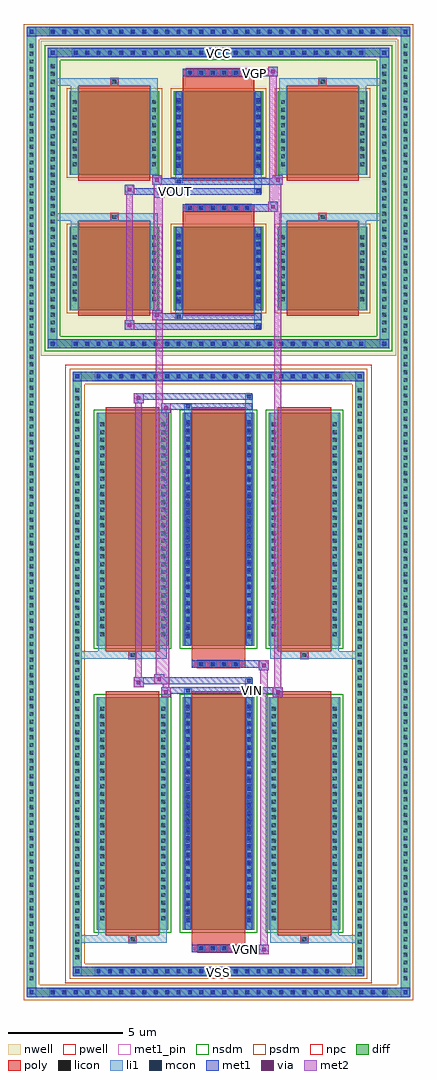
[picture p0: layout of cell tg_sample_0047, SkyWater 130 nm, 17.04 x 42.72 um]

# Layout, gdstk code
import gdstk
lib = gdstk.Library(unit=1e-6, precision=5e-09)
def R(c, l, rs):  # rectangles x0, y0, x1, y1
    for r in rs: c.add(gdstk.rectangle(r[:2], r[2:], *l))
def A(c, l, x, y, w, h, nx, ny, dx, dy):  # array of equal rectangles
    R(c, l, [(x+i*dx, y+j*dy, x+i*dx+w, y+j*dy+h) for i in range(nx) for j in range(ny)])
def P(c, l, *ps):  # polygons
    for p in ps: c.add(gdstk.Polygon(p, *l))
nwell = (64, 20)
pwell = (64, 44)
diff = (65, 20)
poly = (66, 20)
licon = (66, 44)
li1 = (67, 20)
mcon = (67, 44)
met1_pin = (68, 16)
met1 = (68, 20)
via = (68, 44)
met2 = (69, 20)
nsdm = (93, 44)
psdm = (94, 20)
npc = (95, 20)

tg_sample_0047 = lib.new_cell('tg_sample_0047')
R(tg_sample_0047, nwell, [(-7.775,13.935,7.775,27.705)])
R(tg_sample_0047, pwell, [(-6.7,-13.535,6.7,13.535)])
A(tg_sample_0047, diff, -7.455, -14.145, 0.41, 0.41, 30, 2, 0.5, 42.05)
A(tg_sample_0047, diff, -8.39, -13.52, 0.41, 0.41, 1, 121, 0, 0.34)
A(tg_sample_0047, diff, 7.98, -13.52, 0.41, 0.41, 1, 121, 0, 0.34)
A(tg_sample_0047, diff, -5.455, -13.225, 0.41, 0.41, 22, 2, 0.5, 26.04)
A(tg_sample_0047, diff, -6.39, -12.615, 0.41, 0.41, 1, 74, 0, 0.34)
A(tg_sample_0047, diff, 5.98, -12.615, 0.41, 0.41, 1, 74, 0, 0.34)
A(tg_sample_0047, diff, -5.32, -11.2, 3.12, 10.18, 3, 2, 3.76, 12.44)
A(tg_sample_0047, diff, -6.455, 14.245, 0.41, 0.41, 26, 2, 0.5, 12.74)
A(tg_sample_0047, diff, -7.465, 14.835, 0.41, 0.41, 1, 35, 0, 0.34)
A(tg_sample_0047, diff, 7.055, 14.835, 0.41, 0.41, 1, 35, 0, 0.34)
A(tg_sample_0047, diff, -6.52, 15.92, 3.92, 3.66, 3, 2, 4.56, 5.92)
R(tg_sample_0047, diff, [(-7.455,-14.145,7.455,-13.735), (-8.39,-13.52,-7.98,27.69), (7.98,-13.52,8.39,27.69), (-5.455,-13.225,5.455,-12.815), (-6.39,-12.615,-5.98,12.615), (5.98,-12.615,6.39,12.615), (-5.455,12.815,5.455,13.225), (-6.455,14.245,6.455,14.655), (-7.465,14.835,-7.055,26.805), (7.055,14.835,7.465,26.805), (-6.455,26.985,6.455,27.395), (-7.455,27.905,7.455,28.315)])
P(tg_sample_0047, diff, [(6.39,13.225),(-6.39,13.225),(-6.39,-12.815),(-5.98,-12.815),(-5.98,12.815),(5.98,12.815),(5.98,-12.815),(-5.98,-12.815),(-6.39,-12.815),(-6.39,-13.225),(6.39,-13.225)],
  [(8.39,28.315),(-8.39,28.315),(-8.39,-13.735),(-7.98,-13.735),(-7.98,27.905),(7.98,27.905),(7.98,-13.735),(-7.98,-13.735),(-8.39,-13.735),(-8.39,-14.145),(8.39,-14.145)],
  [(7.465,14.245),(-7.465,14.245),(-7.465,26.985),(-7.055,26.985),(-7.055,14.655),(7.055,14.655),(7.055,26.985),(-7.055,26.985),(-7.465,26.985),(-7.465,27.395),(7.465,27.395)])
A(tg_sample_0047, poly, -0.915, -12.18, 0.33, 0.33, 4, 2, 0.5, 12.44)
A(tg_sample_0047, poly, -4.93, -11.45, 2.34, 10.68, 3, 2, 3.76, 12.44)
A(tg_sample_0047, poly, -6.13, 15.67, 3.14, 4.16, 3, 2, 4.56, 5.92)
A(tg_sample_0047, poly, -1.415, 20.23, 0.33, 0.33, 6, 2, 0.5, 5.92)
R(tg_sample_0047, poly, [(-1.17,-12.18,1.17,-11.85), (-1.17,-11.85,1.17,-11.45), (-3.925,-11.78,-3.595,-11.45), (-3.925,-11.78,-3.595,-11.45), (3.595,-11.78,3.925,-11.45), (3.595,-11.78,3.925,-11.45), (-1.17,0.26,1.17,0.59), (-1.17,0.59,1.17,0.99), (-3.925,0.66,-3.595,0.99), (-3.925,0.66,-3.595,0.99), (3.595,0.66,3.925,0.99), (3.595,0.66,3.925,0.99), (-4.725,19.83,-4.395,20.16), (-4.725,19.83,-4.395,20.16), (-1.57,19.83,1.57,20.23), (4.395,19.83,4.725,20.16), (4.395,19.83,4.725,20.16), (-1.57,20.23,1.57,20.56), (-4.725,25.75,-4.395,26.08), (-4.725,25.75,-4.395,26.08), (-1.57,25.75,1.57,26.15), (4.395,25.75,4.725,26.08), (4.395,25.75,4.725,26.08), (-1.57,26.15,1.57,26.48)])
A(tg_sample_0047, licon, -7.335, -14.025, 0.17, 0.17, 30, 2, 0.5, 42.05)
A(tg_sample_0047, licon, -8.27, -13.4, 0.17, 0.17, 1, 121, 0, 0.34)
A(tg_sample_0047, licon, 8.1, -13.4, 0.17, 0.17, 1, 121, 0, 0.34)
A(tg_sample_0047, licon, -5.335, -13.105, 0.17, 0.17, 22, 2, 0.5, 26.04)
A(tg_sample_0047, licon, -6.27, -12.495, 0.17, 0.17, 1, 74, 0, 0.34)
A(tg_sample_0047, licon, 6.1, -12.495, 0.17, 0.17, 1, 74, 0, 0.34)
A(tg_sample_0047, licon, -0.835, -12.1, 0.17, 0.17, 4, 2, 0.5, 12.44)
A(tg_sample_0047, licon, -5.18, -10.785, 0.17, 0.17, 1, 28, 0, 0.34)
A(tg_sample_0047, licon, -2.51, -10.785, 0.17, 0.17, 1, 28, 0, 0.34)
A(tg_sample_0047, licon, -1.42, -10.785, 0.17, 0.17, 1, 28, 0, 0.34)
A(tg_sample_0047, licon, 1.25, -10.785, 0.17, 0.17, 1, 28, 0, 0.34)
A(tg_sample_0047, licon, 2.34, -10.785, 0.17, 0.17, 1, 28, 0, 0.34)
A(tg_sample_0047, licon, 5.01, -10.785, 0.17, 0.17, 1, 28, 0, 0.34)
A(tg_sample_0047, licon, -5.18, 1.655, 0.17, 0.17, 1, 28, 0, 0.34)
A(tg_sample_0047, licon, -2.51, 1.655, 0.17, 0.17, 1, 28, 0, 0.34)
A(tg_sample_0047, licon, -1.42, 1.655, 0.17, 0.17, 1, 28, 0, 0.34)
A(tg_sample_0047, licon, 1.25, 1.655, 0.17, 0.17, 1, 28, 0, 0.34)
A(tg_sample_0047, licon, 2.34, 1.655, 0.17, 0.17, 1, 28, 0, 0.34)
A(tg_sample_0047, licon, 5.01, 1.655, 0.17, 0.17, 1, 28, 0, 0.34)
A(tg_sample_0047, licon, -6.335, 14.365, 0.17, 0.17, 26, 2, 0.5, 12.74)
A(tg_sample_0047, licon, -7.345, 14.955, 0.17, 0.17, 1, 35, 0, 0.34)
A(tg_sample_0047, licon, 7.175, 14.955, 0.17, 0.17, 1, 35, 0, 0.34)
A(tg_sample_0047, licon, -6.38, 16.305, 0.17, 0.17, 1, 9, 0, 0.34)
A(tg_sample_0047, licon, -2.91, 16.305, 0.17, 0.17, 1, 9, 0, 0.34)
A(tg_sample_0047, licon, -1.82, 16.305, 0.17, 0.17, 1, 9, 0, 0.34)
A(tg_sample_0047, licon, 1.65, 16.305, 0.17, 0.17, 1, 9, 0, 0.34)
A(tg_sample_0047, licon, 2.74, 16.305, 0.17, 0.17, 1, 9, 0, 0.34)
A(tg_sample_0047, licon, 6.21, 16.305, 0.17, 0.17, 1, 9, 0, 0.34)
A(tg_sample_0047, licon, -1.335, 20.31, 0.17, 0.17, 6, 2, 0.5, 5.92)
A(tg_sample_0047, licon, -6.38, 22.225, 0.17, 0.17, 1, 9, 0, 0.34)
A(tg_sample_0047, licon, -2.91, 22.225, 0.17, 0.17, 1, 9, 0, 0.34)
A(tg_sample_0047, licon, -1.82, 22.225, 0.17, 0.17, 1, 9, 0, 0.34)
A(tg_sample_0047, licon, 1.65, 22.225, 0.17, 0.17, 1, 9, 0, 0.34)
A(tg_sample_0047, licon, 2.74, 22.225, 0.17, 0.17, 1, 9, 0, 0.34)
A(tg_sample_0047, licon, 6.21, 22.225, 0.17, 0.17, 1, 9, 0, 0.34)
R(tg_sample_0047, licon, [(-3.845,-11.7,-3.675,-11.53), (3.675,-11.7,3.845,-11.53), (-3.845,0.74,-3.675,0.91), (3.675,0.74,3.845,0.91), (-4.645,19.91,-4.475,20.08), (4.475,19.91,4.645,20.08), (-4.645,25.83,-4.475,26), (4.475,25.83,4.645,26)])
A(tg_sample_0047, li1, -7.415, -14.105, 0.33, 0.33, 30, 2, 0.5, 42.05)
A(tg_sample_0047, li1, -8.35, -13.48, 0.33, 0.33, 1, 121, 0, 0.34)
A(tg_sample_0047, li1, 8.02, -13.48, 0.33, 0.33, 1, 121, 0, 0.34)
A(tg_sample_0047, li1, -5.415, -13.185, 0.33, 0.33, 22, 2, 0.5, 26.04)
A(tg_sample_0047, li1, -6.35, -12.575, 0.33, 0.33, 1, 74, 0, 0.34)
A(tg_sample_0047, li1, 6.02, -12.575, 0.33, 0.33, 1, 74, 0, 0.34)
A(tg_sample_0047, li1, -0.915, -12.18, 0.33, 0.33, 4, 2, 0.5, 12.44)
A(tg_sample_0047, li1, -1.42, -10.875, 0.17, 0.17, 1, 27, 0, 0.36)
A(tg_sample_0047, li1, 1.25, -10.875, 0.17, 0.17, 1, 27, 0, 0.36)
A(tg_sample_0047, li1, -5.26, -10.865, 0.33, 0.33, 1, 28, 0, 0.34)
A(tg_sample_0047, li1, -2.59, -10.865, 0.33, 0.33, 1, 28, 0, 0.34)
A(tg_sample_0047, li1, -1.5, -10.865, 0.33, 0.33, 1, 28, 0, 0.34)
A(tg_sample_0047, li1, 1.17, -10.865, 0.33, 0.33, 1, 28, 0, 0.34)
A(tg_sample_0047, li1, 2.26, -10.865, 0.33, 0.33, 1, 28, 0, 0.34)
A(tg_sample_0047, li1, 4.93, -10.865, 0.33, 0.33, 1, 28, 0, 0.34)
A(tg_sample_0047, li1, -1.42, 1.565, 0.17, 0.17, 1, 27, 0, 0.36)
A(tg_sample_0047, li1, 1.25, 1.565, 0.17, 0.17, 1, 27, 0, 0.36)
A(tg_sample_0047, li1, -5.26, 1.575, 0.33, 0.33, 1, 28, 0, 0.34)
A(tg_sample_0047, li1, -2.59, 1.575, 0.33, 0.33, 1, 28, 0, 0.34)
A(tg_sample_0047, li1, -1.5, 1.575, 0.33, 0.33, 1, 28, 0, 0.34)
A(tg_sample_0047, li1, 1.17, 1.575, 0.33, 0.33, 1, 28, 0, 0.34)
A(tg_sample_0047, li1, 2.26, 1.575, 0.33, 0.33, 1, 28, 0, 0.34)
A(tg_sample_0047, li1, 4.93, 1.575, 0.33, 0.33, 1, 28, 0, 0.34)
A(tg_sample_0047, li1, -6.415, 14.285, 0.33, 0.33, 26, 2, 0.5, 12.74)
A(tg_sample_0047, li1, -7.425, 14.875, 0.33, 0.33, 1, 35, 0, 0.34)
A(tg_sample_0047, li1, 7.095, 14.875, 0.33, 0.33, 1, 35, 0, 0.34)
A(tg_sample_0047, li1, -6.46, 16.225, 0.33, 0.33, 1, 9, 0, 0.34)
A(tg_sample_0047, li1, -2.99, 16.225, 0.33, 0.33, 1, 9, 0, 0.34)
A(tg_sample_0047, li1, -1.9, 16.225, 0.33, 0.33, 1, 9, 0, 0.34)
A(tg_sample_0047, li1, -1.82, 16.225, 0.17, 0.17, 1, 9, 0, 0.36)
A(tg_sample_0047, li1, 1.57, 16.225, 0.33, 0.33, 1, 9, 0, 0.34)
A(tg_sample_0047, li1, 1.65, 16.225, 0.17, 0.17, 1, 9, 0, 0.36)
A(tg_sample_0047, li1, 2.66, 16.225, 0.33, 0.33, 1, 9, 0, 0.34)
A(tg_sample_0047, li1, 6.13, 16.225, 0.33, 0.33, 1, 9, 0, 0.34)
A(tg_sample_0047, li1, -1.415, 20.23, 0.33, 0.33, 6, 2, 0.5, 5.92)
A(tg_sample_0047, li1, -6.46, 22.145, 0.33, 0.33, 1, 9, 0, 0.34)
A(tg_sample_0047, li1, -2.99, 22.145, 0.33, 0.33, 1, 9, 0, 0.34)
A(tg_sample_0047, li1, -1.9, 22.145, 0.33, 0.33, 1, 9, 0, 0.34)
A(tg_sample_0047, li1, -1.82, 22.145, 0.17, 0.17, 1, 9, 0, 0.36)
A(tg_sample_0047, li1, 1.57, 22.145, 0.33, 0.33, 1, 9, 0, 0.34)
A(tg_sample_0047, li1, 1.65, 22.145, 0.17, 0.17, 1, 9, 0, 0.36)
A(tg_sample_0047, li1, 2.66, 22.145, 0.33, 0.33, 1, 9, 0, 0.34)
A(tg_sample_0047, li1, 6.13, 22.145, 0.33, 0.33, 1, 9, 0, 0.34)
R(tg_sample_0047, li1, [(-8.39,-14.145,-7.98,-13.735), (7.98,-14.145,8.39,-13.735), (-7.415,-14.105,7.415,-13.775), (-8.27,-14.025,-8.1,-13.855), (-8.27,-14.025,-8.1,-13.855), (8.1,-14.025,8.27,-13.855), (8.1,-14.025,8.27,-13.855), (-8.39,-13.735,-7.98,27.905), (7.98,-13.735,8.39,27.905), (-6.39,-13.225,-5.98,-12.815), (5.98,-13.225,6.39,-12.815), (-5.415,-13.185,5.415,-12.855), (-6.27,-13.105,-6.1,-12.935), (-6.27,-13.105,-6.1,-12.935), (6.1,-13.105,6.27,-12.935), (6.1,-13.105,6.27,-12.935), (-6.39,-12.815,-5.98,12.815), (5.98,-12.815,6.39,12.815), (-6.39,-11.78,-3.925,-11.45), (-5.26,-11.78,-3.925,-11.45), (-5.26,-11.78,-4.93,-11.2), (-3.925,-11.78,-3.595,-11.45), (-3.595,-11.78,-2.26,-11.45), (-2.59,-11.78,-2.26,-11.2), (2.26,-11.78,3.595,-11.45), (2.26,-11.78,2.59,-11.2), (3.595,-11.78,3.925,-11.45), (3.595,-11.78,6.39,-11.45), (3.925,-11.78,5.26,-11.45), (4.93,-11.78,5.26,-11.2), (-5.26,-11.2,-4.93,-1.02), (-2.59,-11.2,-2.26,-1.02), (-1.5,-11.2,-1.17,-1.02), (1.17,-11.2,1.5,-1.02), (2.26,-11.2,2.59,-1.02), (4.93,-11.2,5.26,-1.02), (-1.42,-10.875,-1.25,-1.345), (1.25,-10.875,1.42,-1.345), (-1.5,-1.02,-1.17,-0.645), (1.17,-1.02,1.5,-0.215), (-1.42,-0.815,-1.25,-0.645), (1.25,-0.385,1.42,-0.215), (-6.39,0.66,-3.925,0.99), (-5.26,0.66,-3.925,0.99), (-5.26,0.66,-4.93,1.24), (-3.925,0.66,-3.595,0.99), (-3.595,0.66,-2.26,0.99), (-2.59,0.66,-2.26,1.24), (2.26,0.66,3.595,0.99), (2.26,0.66,2.59,1.24), (3.595,0.66,3.925,0.99), (3.595,0.66,6.39,0.99), (3.925,0.66,5.26,0.99), (4.93,0.66,5.26,1.24), (-5.26,1.24,-4.93,11.42), (-2.59,1.24,-2.26,11.42), (-1.5,1.24,-1.17,11.42), (1.17,1.24,1.5,11.42), (2.26,1.24,2.59,11.42), (4.93,1.24,5.26,11.42), (-1.42,1.565,-1.25,11.095), (1.25,1.565,1.42,11.095), (-1.5,11.42,-1.17,11.795), (1.17,11.42,1.5,12.225), (-1.42,11.625,-1.25,11.795), (1.25,12.055,1.42,12.225), (-6.39,12.815,-5.98,13.225), (5.98,12.815,6.39,13.225), (-5.415,12.855,5.415,13.185), (-6.27,12.935,-6.1,13.105), (-6.27,12.935,-6.1,13.105), (6.1,12.935,6.27,13.105), (6.1,12.935,6.27,13.105), (-7.465,14.245,-7.055,14.655), (7.055,14.245,7.465,14.655), (-6.415,14.285,6.415,14.615), (-7.345,14.365,-7.175,14.535), (-7.345,14.365,-7.175,14.535), (7.175,14.365,7.345,14.535), (7.175,14.365,7.345,14.535), (-7.465,14.655,-7.055,26.985), (7.055,14.655,7.465,26.985), (1.57,15.115,1.9,15.92), (1.65,15.115,1.82,15.285), (-1.9,15.545,-1.57,15.92), (-1.82,15.545,-1.65,15.715), (-6.46,15.92,-6.13,19.58), (-2.99,15.92,-2.66,19.58), (-1.9,15.92,-1.57,19.58), (1.57,15.92,1.9,19.58), (2.66,15.92,2.99,19.58), (6.13,15.92,6.46,19.58), (-1.82,16.225,-1.65,19.275), (1.65,16.225,1.82,19.275), (-6.46,19.58,-6.13,20.16), (-2.99,19.58,-2.66,20.16), (2.66,19.58,2.99,20.16), (6.13,19.58,6.46,20.16), (-7.465,19.83,-4.725,20.16), (-6.46,19.83,-4.725,20.16), (-4.725,19.83,-4.395,20.16), (-4.395,19.83,-2.66,20.16), (2.66,19.83,4.395,20.16), (4.395,19.83,4.725,20.16), (4.395,19.83,7.465,20.16), (4.725,19.83,6.46,20.16), (1.57,21.035,1.9,21.84), (1.65,21.035,1.82,21.205), (-1.9,21.465,-1.57,21.84), (-1.82,21.465,-1.65,21.635), (-6.46,21.84,-6.13,25.5), (-2.99,21.84,-2.66,25.5), (-1.9,21.84,-1.57,25.5), (1.57,21.84,1.9,25.5), (2.66,21.84,2.99,25.5), (6.13,21.84,6.46,25.5), (-1.82,22.145,-1.65,25.195), (1.65,22.145,1.82,25.195), (-6.46,25.5,-6.13,26.08), (-2.99,25.5,-2.66,26.08), (2.66,25.5,2.99,26.08), (6.13,25.5,6.46,26.08), (-7.465,25.75,-4.725,26.08), (-6.46,25.75,-4.725,26.08), (-4.725,25.75,-4.395,26.08), (-4.395,25.75,-2.66,26.08), (2.66,25.75,4.395,26.08), (4.395,25.75,4.725,26.08), (4.395,25.75,7.465,26.08), (4.725,25.75,6.46,26.08), (-7.465,26.985,-7.055,27.395), (7.055,26.985,7.465,27.395), (-6.415,27.025,6.415,27.355), (-7.345,27.105,-7.175,27.275), (-7.345,27.105,-7.175,27.275), (7.175,27.105,7.345,27.275), (7.175,27.105,7.345,27.275), (-8.39,27.905,-7.98,28.315), (7.98,27.905,8.39,28.315), (-7.415,27.945,7.415,28.275), (-8.27,28.025,-8.1,28.195), (-8.27,28.025,-8.1,28.195), (8.1,28.025,8.27,28.195), (8.1,28.025,8.27,28.195)])
A(tg_sample_0047, mcon, -7.335, -14.025, 0.17, 0.17, 30, 2, 0.5, 42.05)
A(tg_sample_0047, mcon, -5.335, -13.105, 0.17, 0.17, 22, 2, 0.5, 26.04)
A(tg_sample_0047, mcon, -0.835, -12.1, 0.17, 0.17, 4, 2, 0.5, 12.44)
A(tg_sample_0047, mcon, -1.42, -10.875, 0.17, 0.17, 1, 27, 0, 0.36)
A(tg_sample_0047, mcon, 1.25, -10.875, 0.17, 0.17, 1, 27, 0, 0.36)
A(tg_sample_0047, mcon, -1.42, 1.565, 0.17, 0.17, 1, 27, 0, 0.36)
A(tg_sample_0047, mcon, 1.25, 1.565, 0.17, 0.17, 1, 27, 0, 0.36)
A(tg_sample_0047, mcon, -6.335, 14.365, 0.17, 0.17, 26, 2, 0.5, 12.74)
A(tg_sample_0047, mcon, -1.82, 16.225, 0.17, 0.17, 1, 9, 0, 0.36)
A(tg_sample_0047, mcon, 1.65, 16.225, 0.17, 0.17, 1, 9, 0, 0.36)
A(tg_sample_0047, mcon, -1.335, 20.31, 0.17, 0.17, 6, 2, 0.5, 5.92)
A(tg_sample_0047, mcon, -1.82, 22.145, 0.17, 0.17, 1, 9, 0, 0.36)
A(tg_sample_0047, mcon, 1.65, 22.145, 0.17, 0.17, 1, 9, 0, 0.36)
R(tg_sample_0047, mcon, [(-8.27,-14.025,-8.1,-13.855), (8.1,-14.025,8.27,-13.855), (-6.27,-13.105,-6.1,-12.935), (6.1,-13.105,6.27,-12.935), (-1.42,-0.815,-1.25,-0.645), (1.25,-0.385,1.42,-0.215), (-1.42,11.625,-1.25,11.795), (1.25,12.055,1.42,12.225), (-6.27,12.935,-6.1,13.105), (6.1,12.935,6.27,13.105), (-7.345,14.365,-7.175,14.535), (7.175,14.365,7.345,14.535), (1.65,15.115,1.82,15.285), (-1.82,15.545,-1.65,15.715), (1.65,21.035,1.82,21.205), (-1.82,21.465,-1.65,21.635), (-7.345,27.105,-7.175,27.275), (7.175,27.105,7.345,27.275), (-8.27,28.025,-8.1,28.195), (8.1,28.025,8.27,28.195)])
R(tg_sample_0047, met1_pin, [(-0.25,-13.315,0.25,-12.815), (1.035,-12.18,1.305,-11.91), (1.345,-0.875,1.615,-0.605), (-2.015,20.975,-1.745,21.245), (1.435,26.15,1.705,26.42), (-0.25,26.895,0.25,27.395)])
A(tg_sample_0047, met1, -7.395, -14.085, 0.29, 0.29, 30, 2, 0.5, 42.05)
A(tg_sample_0047, met1, -5.395, -13.165, 0.29, 0.29, 22, 2, 0.5, 26.04)
A(tg_sample_0047, met1, -0.895, -12.16, 0.29, 0.29, 4, 2, 0.5, 12.44)
A(tg_sample_0047, met1, -1.48, -10.935, 0.29, 0.29, 1, 27, 0, 0.36)
A(tg_sample_0047, met1, 1.19, -10.935, 0.29, 0.29, 1, 27, 0, 0.36)
A(tg_sample_0047, met1, -1.48, 1.505, 0.29, 0.29, 1, 27, 0, 0.36)
A(tg_sample_0047, met1, 1.19, 1.505, 0.29, 0.29, 1, 27, 0, 0.36)
A(tg_sample_0047, met1, -6.395, 14.305, 0.29, 0.29, 26, 2, 0.5, 12.74)
A(tg_sample_0047, met1, -1.88, 16.165, 0.29, 0.29, 1, 9, 0, 0.36)
A(tg_sample_0047, met1, 1.59, 16.165, 0.29, 0.29, 1, 9, 0, 0.36)
A(tg_sample_0047, met1, -1.395, 20.25, 0.29, 0.29, 6, 2, 0.5, 5.92)
A(tg_sample_0047, met1, -1.88, 22.085, 0.29, 0.29, 1, 9, 0, 0.36)
A(tg_sample_0047, met1, 1.59, 22.085, 0.29, 0.29, 1, 9, 0, 0.36)
R(tg_sample_0047, met1, [(-8.39,-14.145,-7.98,-13.735), (-8.39,-14.145,-7.98,-13.735), (-7.98,-14.145,7.98,-13.735), (7.98,-14.145,8.39,-13.735), (7.98,-14.145,8.39,-13.735), (-8.33,-14.085,-8.04,-13.795), (8.04,-14.085,8.33,-13.795), (-6.39,-13.225,-5.98,-12.815), (-6.39,-13.225,-5.98,-12.815), (-5.98,-13.225,5.98,-12.815), (5.98,-13.225,6.39,-12.815), (5.98,-13.225,6.39,-12.815), (-6.33,-13.165,-6.04,-12.875), (6.04,-13.165,6.33,-12.875), (1.77,-12.28,2.2,-11.85), (-1.17,-12.18,1.17,-11.85), (1.17,-12.18,2.2,-11.85), (-1.48,-11.2,-1.19,-1.02), (1.19,-11.2,1.48,-1.02), (-2.51,-1.015,-2.08,-0.585), (2.38,-1.015,2.81,-0.585), (-2.51,-0.875,-1.48,-0.585), (-1.48,-0.875,-1.19,-0.585), (-1.48,-0.875,1.48,-0.585), (1.48,-0.875,2.81,-0.585), (-3.71,-0.585,-3.28,-0.155), (-3.71,-0.445,-1.48,-0.155), (-2.81,-0.445,-2.38,-0.015), (-2.81,-0.445,-1.48,-0.155), (-1.48,-0.445,1.48,-0.155), (1.19,-0.445,1.48,-0.155), (1.77,0.16,2.2,0.59), (-1.17,0.26,1.17,0.59), (1.17,0.26,2.2,0.59), (-1.48,1.24,-1.19,11.42), (1.19,1.24,1.48,11.42), (-2.51,11.425,-2.08,11.855), (-2.51,11.565,-1.48,11.855), (-1.48,11.565,-1.19,11.855), (-1.48,11.565,1.48,11.855), (-3.71,11.855,-3.28,12.285), (-3.71,11.995,-1.48,12.285), (-1.48,11.995,1.48,12.285), (1.19,11.995,1.48,12.285), (-6.39,12.815,-5.98,13.225), (-6.39,12.815,-5.98,13.225), (-5.98,12.815,5.98,13.225), (5.98,12.815,6.39,13.225), (5.98,12.815,6.39,13.225), (-6.33,12.875,-6.04,13.165), (6.04,12.875,6.33,13.165), (-7.465,14.245,-7.055,14.655), (-7.465,14.245,-7.055,14.655), (-7.055,14.245,7.055,14.655), (7.055,14.245,7.465,14.655), (7.055,14.245,7.465,14.655), (-7.405,14.305,-7.115,14.595), (7.115,14.305,7.405,14.595), (-4.11,15.055,-3.68,15.485), (-4.11,15.055,-1.88,15.345), (-1.88,15.055,1.88,15.345), (1.59,15.055,1.88,15.345), (-2.91,15.485,-2.48,15.915), (-2.91,15.485,-1.88,15.775), (-1.88,15.485,-1.59,15.775), (-1.88,15.485,1.88,15.775), (-1.88,15.92,-1.59,19.58), (1.59,15.92,1.88,19.58), (-1.57,20.23,1.57,20.56), (1.57,20.23,2.6,20.56), (2.17,20.23,2.6,20.66), (-2.81,20.835,-2.38,21.265), (-4.11,20.975,-3.68,21.405), (-4.11,20.975,-1.88,21.265), (-2.81,20.975,-1.88,21.265), (-1.88,20.975,1.88,21.265), (1.59,20.975,1.88,21.265), (-2.91,21.405,-2.48,21.835), (-2.91,21.405,-1.88,21.695), (-1.88,21.405,-1.59,21.695), (-1.88,21.405,1.88,21.695), (1.88,21.405,2.81,21.695), (2.38,21.405,2.81,21.835), (-1.88,21.84,-1.59,25.5), (1.59,21.84,1.88,25.5), (-1.57,26.15,1.57,26.48), (1.57,26.15,2.6,26.48), (2.17,26.15,2.6,26.58), (-7.465,26.985,-7.055,27.395), (-7.465,26.985,-7.055,27.395), (-7.055,26.985,7.055,27.395), (7.055,26.985,7.465,27.395), (7.055,26.985,7.465,27.395), (-7.405,27.045,-7.115,27.335), (7.115,27.045,7.405,27.335), (-8.39,27.905,-7.98,28.315), (-8.39,27.905,-7.98,28.315), (-7.98,27.905,7.98,28.315), (7.98,27.905,8.39,28.315), (7.98,27.905,8.39,28.315), (-8.33,27.965,-8.04,28.255), (8.04,27.965,8.33,28.255)])
R(tg_sample_0047, via, [(1.91,-12.14,2.06,-11.99), (-2.37,-0.875,-2.22,-0.725), (2.52,-0.875,2.67,-0.725), (-3.57,-0.445,-3.42,-0.295), (-2.67,-0.305,-2.52,-0.155), (1.91,0.3,2.06,0.45), (-2.37,11.565,-2.22,11.715), (-3.57,11.995,-3.42,12.145), (-3.97,15.195,-3.82,15.345), (-2.77,15.625,-2.62,15.775), (2.31,20.37,2.46,20.52), (-2.67,20.975,-2.52,21.125), (-3.97,21.115,-3.82,21.265), (-2.77,21.545,-2.62,21.695), (2.52,21.545,2.67,21.695), (2.31,26.29,2.46,26.44)])
R(tg_sample_0047, met2, [(1.77,-12.28,2.2,-11.85), (1.82,-12.28,2.15,0.59), (2.15,-12.28,2.2,-11.85), (1.82,-12.23,2.15,-11.9), (-2.51,-1.015,-2.08,-0.585), (-2.44,-1.015,-2.15,11.855), (-2.15,-1.015,-2.08,-0.585), (2.38,-1.015,2.81,-0.585), (2.45,-1.015,2.74,21.835), (2.74,-1.015,2.81,-0.585), (-2.46,-0.965,-2.13,-0.635), (2.43,-0.965,2.76,-0.635), (-3.71,-0.585,-3.28,-0.155), (-3.64,-0.585,-3.35,12.285), (-3.35,-0.585,-3.28,-0.155), (-3.66,-0.535,-3.33,-0.205), (-2.81,-0.445,-2.38,-0.015), (-2.74,-0.445,-2.45,21.265), (-2.45,-0.445,-2.38,-0.015), (-2.76,-0.395,-2.43,-0.065), (1.77,0.16,2.2,0.59), (2.15,0.16,2.2,0.59), (1.82,0.21,2.15,0.54), (-2.51,11.425,-2.08,11.855), (-2.15,11.425,-2.08,11.855), (-2.46,11.475,-2.13,11.805), (-3.71,11.855,-3.28,12.285), (-3.35,11.855,-3.28,12.285), (-3.66,11.905,-3.33,12.235), (-4.11,15.055,-3.68,15.485), (-4.04,15.055,-3.75,21.405), (-3.75,15.055,-3.68,15.485), (-4.06,15.105,-3.73,15.435), (-2.91,15.485,-2.48,15.915), (-2.84,15.485,-2.55,21.835), (-2.55,15.485,-2.48,15.915), (-2.86,15.535,-2.53,15.865), (2.17,20.23,2.6,20.66), (2.22,20.23,2.55,26.58), (2.55,20.23,2.6,20.66), (2.22,20.28,2.55,20.61), (-2.81,20.835,-2.38,21.265), (-2.45,20.835,-2.38,21.265), (-2.76,20.885,-2.43,21.215), (-4.11,20.975,-3.68,21.405), (-3.75,20.975,-3.68,21.405), (-4.06,21.025,-3.73,21.355), (-2.91,21.405,-2.48,21.835), (-2.55,21.405,-2.48,21.835), (2.38,21.405,2.81,21.835), (2.74,21.405,2.81,21.835), (-2.86,21.455,-2.53,21.785), (2.43,21.455,2.76,21.785), (2.17,26.15,2.6,26.58), (2.55,26.15,2.6,26.58), (2.22,26.2,2.55,26.53)])
A(tg_sample_0047, nsdm, -5.45, -11.33, 3.38, 10.44, 3, 2, 3.76, 12.44)
P(tg_sample_0047, nsdm, [(7.595,14.115),(-7.595,14.115),(-7.595,26.855),(-6.925,26.855),(-6.925,14.785),(6.925,14.785),(6.925,26.855),(-6.925,26.855),(-7.595,26.855),(-7.595,27.525),(7.595,27.525)])
A(tg_sample_0047, psdm, -6.65, 15.79, 4.18, 3.92, 3, 2, 4.56, 5.92)
P(tg_sample_0047, psdm, [(6.52,13.355),(-6.52,13.355),(-6.52,-12.685),(-5.85,-12.685),(-5.85,12.685),(5.85,12.685),(5.85,-12.685),(-5.85,-12.685),(-6.52,-12.685),(-6.52,-13.355),(6.52,-13.355)],
  [(8.52,28.445),(-8.52,28.445),(-8.52,-13.605),(-7.85,-13.605),(-7.85,27.775),(7.85,27.775),(7.85,-13.605),(-7.85,-13.605),(-8.52,-13.605),(-8.52,-14.275),(8.52,-14.275)])
A(tg_sample_0047, npc, -0.935, -12.2, 0.37, 0.37, 4, 2, 0.5, 12.44)
A(tg_sample_0047, npc, -1.435, 20.21, 0.37, 0.37, 6, 2, 0.5, 5.92)
R(tg_sample_0047, npc, [(-0.935,-12.2,-0.065,-11.83), (-0.935,-12.2,-0.065,-11.83), (-0.435,-12.2,0.435,-11.83), (-0.435,-12.2,0.435,-11.83), (0.065,-12.2,0.935,-11.83), (0.065,-12.2,0.935,-11.83), (-3.945,-11.8,-3.575,-11.43), (3.575,-11.8,3.945,-11.43), (-0.935,0.24,-0.065,0.61), (-0.935,0.24,-0.065,0.61), (-0.435,0.24,0.435,0.61), (-0.435,0.24,0.435,0.61), (0.065,0.24,0.935,0.61), (0.065,0.24,0.935,0.61), (-3.945,0.64,-3.575,1.01), (3.575,0.64,3.945,1.01), (-4.745,19.81,-4.375,20.18), (4.375,19.81,4.745,20.18), (-1.435,20.21,-0.565,20.58), (-1.435,20.21,-0.565,20.58), (-0.935,20.21,-0.065,20.58), (-0.935,20.21,-0.065,20.58), (-0.435,20.21,0.435,20.58), (-0.435,20.21,0.435,20.58), (0.065,20.21,0.935,20.58), (0.065,20.21,0.935,20.58), (0.565,20.21,1.435,20.58), (0.565,20.21,1.435,20.58), (-4.745,25.73,-4.375,26.1), (4.375,25.73,4.745,26.1), (-1.435,26.13,-0.565,26.5), (-1.435,26.13,-0.565,26.5), (-0.935,26.13,-0.065,26.5), (-0.935,26.13,-0.065,26.5), (-0.435,26.13,0.435,26.5), (-0.435,26.13,0.435,26.5), (0.065,26.13,0.935,26.5), (0.065,26.13,0.935,26.5), (0.565,26.13,1.435,26.5), (0.565,26.13,1.435,26.5)])
tg_sample_0047.add(gdstk.Label('VIN', (1.48,-0.74), layer=68, texttype=5))
tg_sample_0047.add(gdstk.Label('VGN', (1.17,-12.045), layer=68, texttype=5))
tg_sample_0047.add(gdstk.Label('VGP', (1.57,26.285), layer=68, texttype=5))
tg_sample_0047.add(gdstk.Label('VSS', (0,-13.065), layer=68, texttype=5))
tg_sample_0047.add(gdstk.Label('VCC', (0,27.145), layer=68, texttype=5))
tg_sample_0047.add(gdstk.Label('VOUT', (-1.88,21.11), layer=68, texttype=5))

lib.write_gds('tg_sample_0047.gds')
